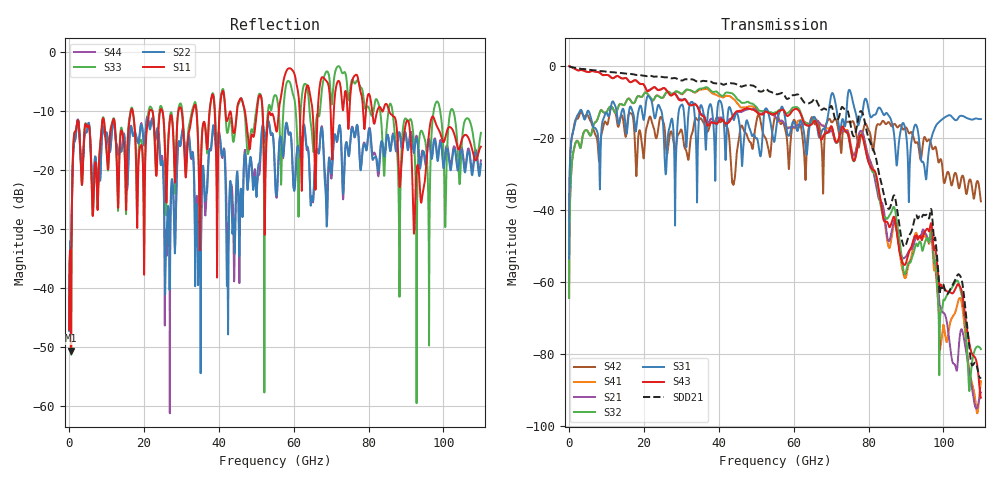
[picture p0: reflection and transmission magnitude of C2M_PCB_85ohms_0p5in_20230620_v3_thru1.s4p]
! Info: Touchstone file created by Circ.  Input file=C2M_PCB_85ohms_0p5in_20230620_v3.circ
# Hz S RI R 50
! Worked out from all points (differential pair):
!   11000 points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, 10 MHz to 110 GHz, reference 50 ohm
!   strongest paths, dB at 10 MHz, 27.51 GHz, 55.01 GHz, 82.51 GHz, 110 GHz:
!     S43: 0.0, -8.1, -13.2, -32.9, -92.2
!     S31: -53.5, -14.7, -20.0, -11.9, -14.7
!     S32: -64.4, -7.8, -12.9, -34.3, -78.7
!     S21: 0.0, -7.8, -13.9, -36.1, -90.7
!     S41: -64.4, -8.0, -14.1, -34.8, -87.6
!     S42: -53.3, -18.8, -13.8, -16.1, -37.6
!   taken as a pair (ports 3,1 in; 4,2 out), SDD21 dB: 0.0, -3.4, -7.6, -28.4, -86.9
!   lowest |S11| = -50.6 dB at 550 MHz (marker M1), VSWR 1.01, Z = 50 - j0.293 ohm
!   |S11| at or under -10 dB: start of sweep to 16.55 GHz; 16.96 GHz to 21.54 GHz (4.574 GHz wide, 23.8 % of centre); 85.45 GHz to end of sweep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
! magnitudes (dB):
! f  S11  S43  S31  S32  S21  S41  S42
! 10 MHz  -47.1  0.0  -53.5  -64.4  0.0  -64.4  -53.3
! 550 MHz  -50.6  -0.3  -21.1  -30.0  -0.3  -30.0  -21.3
! 2.12 GHz  -12.2  -1.1  -13.9  -20.8  -1.1  -20.8  -14.7
! 20.42 GHz  -16.9  -6.1  -11.3  -7.4  -6.1  -7.3  -18.7
! 26.51 GHz  -15.4  -7.5  -18.5  -7.1  -7.3  -7.1  -22.2
! 78.05 GHz  -7.2  -19.2  -14.1  -19.1  -18.1  -18.1  -19.1
! 110 GHz  -16.1  -92.2  -14.7  -78.7  -90.7  -87.6  -37.6
